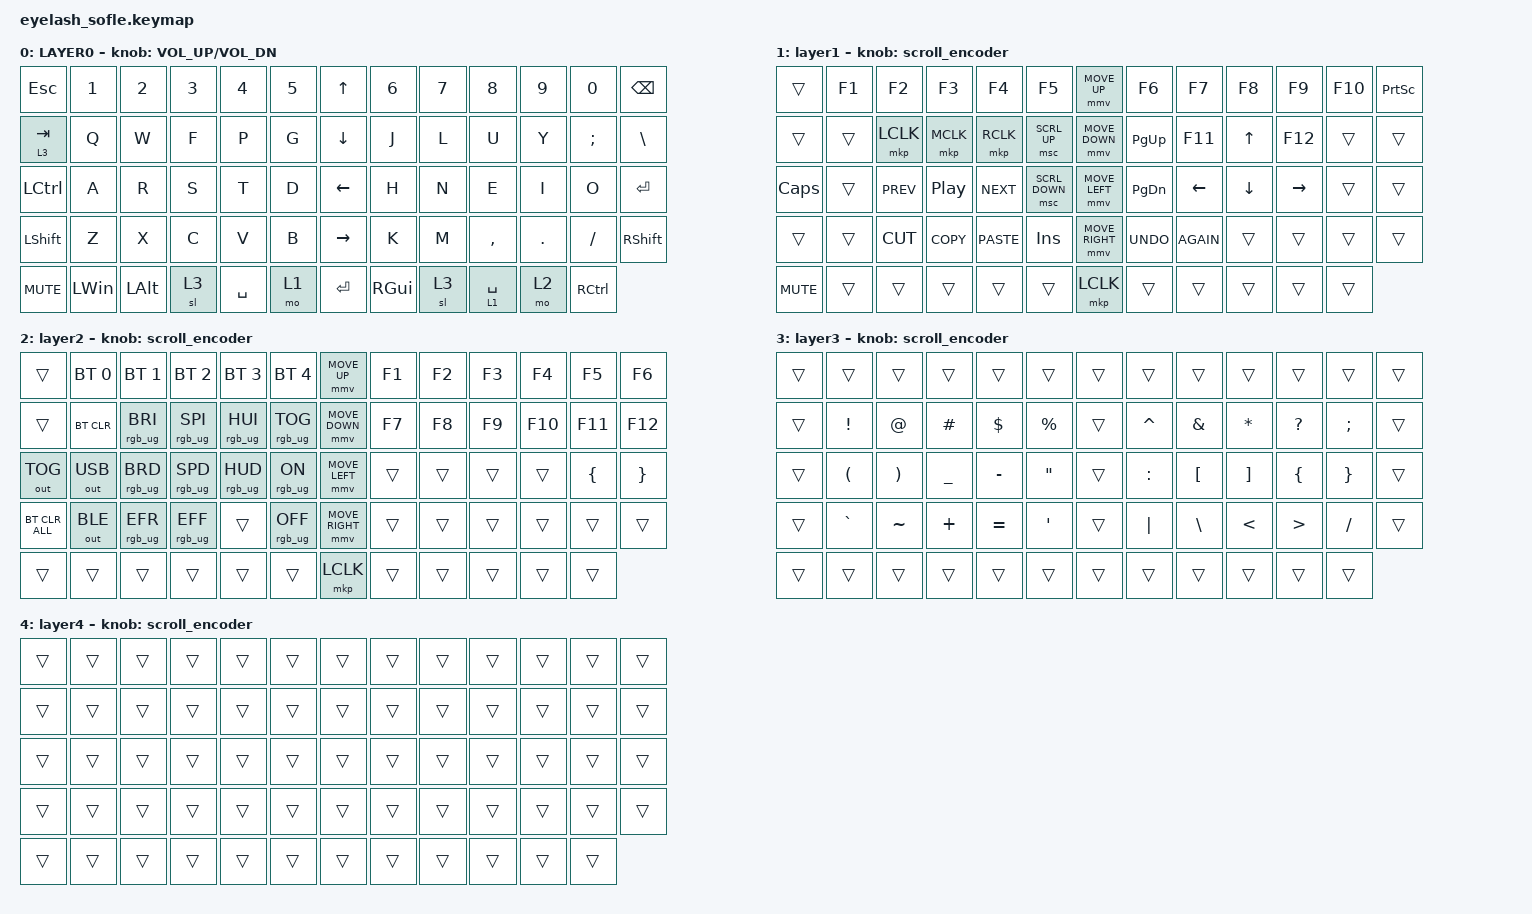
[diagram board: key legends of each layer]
#define ZMK_POINTING_DEFAULT_MOVE_VAL 1200  // 600
#define ZMK_POINTING_DEFAULT_SCRL_VAL 25   // 10

#include <input/processors.dtsi>
#include <zephyr/dt-bindings/input/input-event-codes.h>
#include <behaviors.dtsi>
#include <dt-bindings/zmk/bt.h>
#include <dt-bindings/zmk/keys.h>
#include <dt-bindings/zmk/outputs.h>
#include <dt-bindings/zmk/pointing.h>
#include <dt-bindings/zmk/rgb.h>

&mmv_input_listener { input-processors = <&zip_xy_scaler 2 1>; };

&msc_input_listener { input-processors = <&zip_scroll_scaler 2 1>; };

&msc {
    acceleration-exponent = <1>;      // 0
    time-to-max-speed-ms = <100>;       // 300
    delay-ms = <0>;                   // 0
};

&mmv {
    time-to-max-speed-ms = <500>;
    acceleration-exponent = <1>;
    trigger-period-ms = <16>;
};

&soft_off { hold-time-ms = <2000>; };

/ {
    scroll_encoder: scroll_encoder {
        compatible = "zmk,behavior-sensor-rotate";
        #sensor-binding-cells = <0>;
        bindings = <&msc SCRL_DOWN>, <&msc SCRL_UP>;

        tap-ms = <100>;
    };

    behaviors {
    };

    combos {
        compatible = "zmk,combos";

        softoff {
            bindings = <&soft_off>;
            key-positions = <14 28 40>;
        };
    };

    macros {
        SHIFT_MCLK: SHIFT_MCLK {
            compatible = "zmk,behavior-macro";
            #binding-cells = <0>;
            bindings =
                <&macro_press>,
                <&kp LEFT_SHIFT>,
                <&macro_press>,
                <&mkp MB3>,
                <&macro_pause_for_release>,
                <&macro_release>,
                <&kp LEFT_SHIFT &mkp MB3>;

            label = "SHIFT_MCLK";
        };
    };

    keymap {
        compatible = "zmk,keymap";

        base {
            bindings = <
&kp ESC     &kp N1    &kp N2        &kp N3  &kp N4     &kp N5    &kp UP_ARROW     &kp N6         &kp N7  &kp N8       &kp N9   &kp N0     &kp BACKSPACE
&lt 3 TAB   &kp Q     &kp W         &kp F   &kp P      &kp G     &kp DOWN_ARROW   &kp J          &kp L   &kp U        &kp Y    &kp SEMI   &kp BSLH
&kp LCTRL   &kp A     &kp R         &kp S   &kp T      &kp D     &kp LEFT_ARROW   &kp H          &kp N   &kp E        &kp I    &kp O      &kp ENTER
&kp LSHFT   &kp Z     &kp X         &kp C   &kp V      &kp B     &kp RIGHT_ARROW  &kp K          &kp M   &kp COMMA    &kp DOT  &kp FSLH   &kp RSHIFT
&kp C_MUTE  &kp LWIN  &kp LEFT_ALT  &sl 3   &kp SPACE  &mo 1     &kp ENTER        &kp RIGHT_GUI  &sl 3   &lt 1 SPACE  &mo 2    &kp RCTRL
            >;

            sensor-bindings = <&inc_dec_kp C_VOLUME_UP C_VOL_DN>;
            display-name = "LAYER0";
        };

        fn {
            bindings = <
&trans      &kp F1  &kp F2      &kp F3      &kp F4       &kp F5            &mmv MOVE_UP     &kp F6      &kp F7       &kp F8    &kp F9     &kp F10  &kp PRINTSCREEN
&trans      &trans  &mkp LCLK   &mkp MCLK   &mkp RCLK    &msc SCRL_UP      &mmv MOVE_DOWN   &kp PG_UP   &kp F11      &kp UP    &kp F12    &trans   &trans
&kp CAPS    &trans  &kp C_PREV  &kp C_PP    &kp C_NEXT   &msc SCRL_DOWN    &mmv MOVE_LEFT   &kp PG_DN   &kp LEFT     &kp DOWN  &kp RIGHT  &trans   &trans
&trans      &trans  &kp K_CUT   &kp K_COPY  &kp K_PASTE  &kp INS           &mmv MOVE_RIGHT  &kp K_UNDO  &kp K_AGAIN  &trans    &trans     &trans   &trans
&kp C_MUTE  &trans  &trans      &trans      &trans       &trans            &mkp LCLK        &trans      &trans       &trans    &trans     &trans
            >;

            display-name = "layer1";
            sensor-bindings = <&scroll_encoder>;
        };

        board {
            bindings = <
&trans          &bt BT_SEL 0  &bt BT_SEL 1     &bt BT_SEL 2     &bt BT_SEL 3     &bt BT_SEL 4       &mmv MOVE_UP     &kp F1  &kp F2  &kp F3  &kp F4   &kp F5    &kp F6
&trans          &bt BT_CLR    &rgb_ug RGB_BRI  &rgb_ug RGB_SPI  &rgb_ug RGB_HUI  &rgb_ug RGB_TOG    &mmv MOVE_DOWN   &kp F7  &kp F8  &kp F9  &kp F10  &kp F11   &kp F12
&out OUT_TOG    &out OUT_USB  &rgb_ug RGB_BRD  &rgb_ug RGB_SPD  &rgb_ug RGB_HUD  &rgb_ug RGB_ON     &mmv MOVE_LEFT   &trans  &trans  &trans  &trans   &kp LBRC  &kp RBRC
&bt BT_CLR_ALL  &out OUT_BLE  &rgb_ug RGB_EFR  &rgb_ug RGB_EFF  &trans           &rgb_ug RGB_OFF    &mmv MOVE_RIGHT  &trans  &trans  &trans  &trans   &trans    &trans
&trans          &trans        &trans           &trans           &trans           &trans             &mkp LCLK        &trans  &trans  &trans  &trans   &trans
            >;

            display-name = "layer2";
            sensor-bindings = <&scroll_encoder>;
        };

        symbol {
            bindings = <
&trans  &trans                &trans                 &trans          &trans      &trans               &trans  &trans     &trans            &trans             &trans            &trans           &trans
&trans  &kp EXCL              &kp AT_SIGN            &kp POUND       &kp DOLLAR  &kp PERCENT          &trans  &kp CARET  &kp AMPERSAND     &kp ASTERISK       &kp QUESTION      &kp SEMICOLON    &trans
&trans  &kp LEFT_PARENTHESIS  &kp RIGHT_PARENTHESIS  &kp UNDERSCORE  &kp MINUS   &kp DOUBLE_QUOTES    &trans  &kp COLON  &kp LEFT_BRACKET  &kp RIGHT_BRACKET  &kp LEFT_BRACE    &kp RIGHT_BRACE  &trans
&trans  &kp GRAVE             &kp TILDE              &kp PLUS        &kp EQUAL   &kp SQT              &trans  &kp PIPE   &kp BACKSLASH     &kp LESS_THAN      &kp GREATER_THAN  &kp SLASH        &trans
&trans  &trans                &trans                 &trans          &trans      &trans               &trans  &trans     &trans            &trans             &trans            &trans
            >;

            display-name = "layer3";
            sensor-bindings = <&scroll_encoder>;
        };

        layer_4 {
            bindings = <
&trans  &trans  &trans  &trans  &trans  &trans    &trans  &trans  &trans  &trans  &trans  &trans  &trans
&trans  &trans  &trans  &trans  &trans  &trans    &trans  &trans  &trans  &trans  &trans  &trans  &trans
&trans  &trans  &trans  &trans  &trans  &trans    &trans  &trans  &trans  &trans  &trans  &trans  &trans
&trans  &trans  &trans  &trans  &trans  &trans    &trans  &trans  &trans  &trans  &trans  &trans  &trans
&trans  &trans  &trans  &trans  &trans  &trans    &trans  &trans  &trans  &trans  &trans  &trans
            >;

            display-name = "layer4";
            sensor-bindings = <&scroll_encoder>;
        };
    };
};
